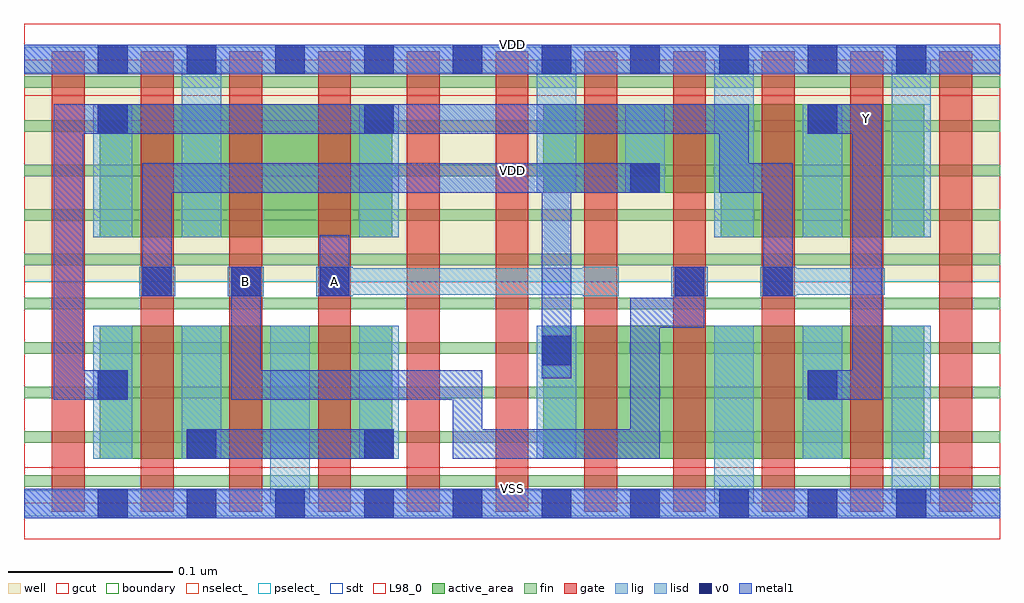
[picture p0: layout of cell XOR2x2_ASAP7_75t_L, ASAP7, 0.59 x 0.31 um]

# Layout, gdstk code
import gdstk
lib = gdstk.Library(unit=1e-6, precision=2.5e-10)
def R(c, l, rs):  # rectangles x0, y0, x1, y1
    for r in rs: c.add(gdstk.rectangle(r[:2], r[2:], *l))
def A(c, l, x, y, w, h, nx, ny, dx, dy):  # array of equal rectangles
    R(c, l, [(x+i*dx, y+j*dy, x+i*dx+w, y+j*dy+h) for i in range(nx) for j in range(ny)])
def P(c, l, *ps):  # polygons
    for p in ps: c.add(gdstk.Polygon(p, *l))
well = (1, 0)
fin = (2, 0)
gate = (7, 0)
gcut = (10, 0)
active_area = (11, 0)
nselect_ = (12, 0)
pselect_ = (13, 0)
lig = (16, 0)
lisd = (17, 0)
v0 = (18, 0)
metal1 = (19, 0)
sdt = (88, 0)
L98_0 = (98, 0)
boundary = (100, 0)

xor2x2_asap7_75t_l = lib.new_cell('XOR2x2_ASAP7_75t_L')
R(xor2x2_asap7_75t_l, well, [(0,0.135,0.594,0.27)])
A(xor2x2_asap7_75t_l, fin, 0, 0.01, 0.594, 0.007, 1, 10, 0, 0.027)
A(xor2x2_asap7_75t_l, gate, 0.017, -0.005, 0.02, 0.28, 11, 1, 0.054, 0)
R(xor2x2_asap7_75t_l, gcut, [(0,-0.022,0.594,0.022), (0,0.248,0.594,0.292)])
R(xor2x2_asap7_75t_l, active_area, [(0.046,0.027,0.224,0.108), (0.316,0.027,0.548,0.108), (0.046,0.162,0.224,0.243)])
P(xor2x2_asap7_75t_l, active_area, [(0.424,0.162),(0.424,0.189),(0.316,0.189),(0.316,0.243),(0.548,0.243),(0.548,0.162)])
R(xor2x2_asap7_75t_l, nselect_, [(0,0,0.594,0.135)])
R(xor2x2_asap7_75t_l, pselect_, [(0,0.135,0.594,0.27)])
A(xor2x2_asap7_75t_l, lig, 0.07, 0.126, 0.022, 0.018, 3, 1, 0.054, 0)
A(xor2x2_asap7_75t_l, lig, 0.34, 0.126, 0.022, 0.018, 3, 1, 0.054, 0)
R(xor2x2_asap7_75t_l, lig, [(0,-0.008,0.594,0.008), (0.178,0.127,0.362,0.143), (0.448,0.127,0.524,0.143), (0,0.262,0.594,0.278)])
A(xor2x2_asap7_75t_l, lisd, 0.096, 0.027, 0.024, 0.081, 3, 1, 0.108, 0)
R(xor2x2_asap7_75t_l, lisd, [(0.15,0,0.174,0.108), (0.15,0,0.174,0.108), (0.42,0,0.444,0.108), (0.42,0,0.444,0.108), (0.528,0,0.552,0.108), (0.528,0,0.552,0.108), (0.042,0.027,0.066,0.108), (0.474,0.027,0.498,0.108), (0.042,0.162,0.066,0.243), (0.096,0.162,0.12,0.27), (0.096,0.162,0.12,0.27), (0.204,0.162,0.228,0.243), (0.42,0.162,0.444,0.27), (0.42,0.162,0.444,0.27), (0.474,0.162,0.498,0.243), (0.528,0.162,0.552,0.27), (0.528,0.162,0.552,0.27), (0.312,0.189,0.336,0.27), (0.312,0.189,0.336,0.27), (0.366,0.189,0.39,0.243)])
A(xor2x2_asap7_75t_l, v0, 0.045, -0.009, 0.018, 0.018, 10, 2, 0.054, 0.27)
A(xor2x2_asap7_75t_l, v0, 0.072, 0.126, 0.018, 0.018, 3, 1, 0.054, 0)
R(xor2x2_asap7_75t_l, v0, [(0.099,0.027,0.117,0.045), (0.207,0.027,0.225,0.045), (0.045,0.063,0.063,0.081), (0.477,0.063,0.495,0.081), (0.315,0.084,0.333,0.102), (0.396,0.126,0.414,0.144), (0.45,0.126,0.468,0.144), (0.369,0.189,0.387,0.207), (0.045,0.225,0.063,0.243), (0.207,0.225,0.225,0.243), (0.477,0.225,0.495,0.243)])
A(xor2x2_asap7_75t_l, metal1, 0.072, 0.126, 0.018, 0.018, 3, 1, 0.054, 0)
R(xor2x2_asap7_75t_l, metal1, [(0,-0.009,0.594,0.009), (0.099,0.027,0.117,0.045), (0.099,0.027,0.225,0.045), (0.207,0.027,0.225,0.045), (0.045,0.063,0.063,0.081), (0.477,0.063,0.495,0.081), (0.315,0.084,0.333,0.102), (0.18,0.126,0.198,0.163), (0.396,0.126,0.414,0.144), (0.45,0.126,0.468,0.144), (0.369,0.189,0.387,0.207), (0.045,0.225,0.063,0.243), (0.207,0.225,0.225,0.243), (0.477,0.225,0.495,0.243), (0,0.261,0.594,0.279)])
P(xor2x2_asap7_75t_l, metal1, [(0.315,0.076),(0.315,0.189),(0.09,0.189),(0.09,0.126),(0.072,0.126),(0.072,0.207),(0.387,0.207),(0.387,0.189),(0.333,0.189),(0.333,0.076)],
  [(0.018,0.063),(0.018,0.243),(0.441,0.243),(0.441,0.207),(0.468,0.207),(0.468,0.126),(0.45,0.126),(0.45,0.189),(0.423,0.189),(0.423,0.225),(0.036,0.225),(0.036,0.081),(0.063,0.081),(0.063,0.063)],
  [(0.261,0.027),(0.261,0.063),(0.126,0.063),(0.126,0.144),(0.144,0.144),(0.144,0.081),(0.279,0.081),(0.279,0.045),(0.369,0.045),(0.369,0.125),(0.396,0.125),(0.396,0.144),(0.414,0.144),(0.414,0.107),(0.387,0.107),(0.387,0.027)],
  [(0.477,0.063),(0.477,0.081),(0.504,0.081),(0.504,0.225),(0.477,0.225),(0.477,0.243),(0.522,0.243),(0.522,0.063)])
A(xor2x2_asap7_75t_l, sdt, 0.042, 0.027, 0.024, 0.081, 3, 1, 0.054, 0)
A(xor2x2_asap7_75t_l, sdt, 0.204, 0.027, 0.024, 0.081, 3, 1, 0.108, 0)
A(xor2x2_asap7_75t_l, sdt, 0.42, 0.027, 0.024, 0.081, 3, 2, 0.054, 0.135)
R(xor2x2_asap7_75t_l, sdt, [(0.15,0.027,0.174,0.108), (0.528,0.027,0.552,0.108), (0.042,0.162,0.066,0.243), (0.096,0.162,0.12,0.243), (0.096,0.162,0.12,0.243), (0.204,0.162,0.228,0.243), (0.42,0.162,0.444,0.243), (0.528,0.162,0.552,0.243), (0.312,0.189,0.336,0.243), (0.312,0.189,0.336,0.243), (0.366,0.189,0.39,0.243)])
R(xor2x2_asap7_75t_l, L98_0, [(0,0,0.594,0.27)])
R(xor2x2_asap7_75t_l, boundary, [(0,0,0.594,0.27)])
xor2x2_asap7_75t_l.add(gdstk.Label('VDD', (0.297,0.2025), layer=1, texttype=251))
xor2x2_asap7_75t_l.add(gdstk.Label('VSS', (0.297,-0.0675), layer=3, texttype=251))
xor2x2_asap7_75t_l.add(gdstk.Label('VSS', (0.297,0.009), layer=19, texttype=251))
xor2x2_asap7_75t_l.add(gdstk.Label('VDD', (0.297,0.279), layer=19, texttype=251))
xor2x2_asap7_75t_l.add(gdstk.Label('B', (0.135,0.135), layer=19, texttype=251))
xor2x2_asap7_75t_l.add(gdstk.Label('A', (0.189,0.135), layer=19, texttype=251))
xor2x2_asap7_75t_l.add(gdstk.Label('Y', (0.513,0.234), layer=19, texttype=251))

lib.write_gds('XOR2x2_ASAP7_75t_L.gds')
